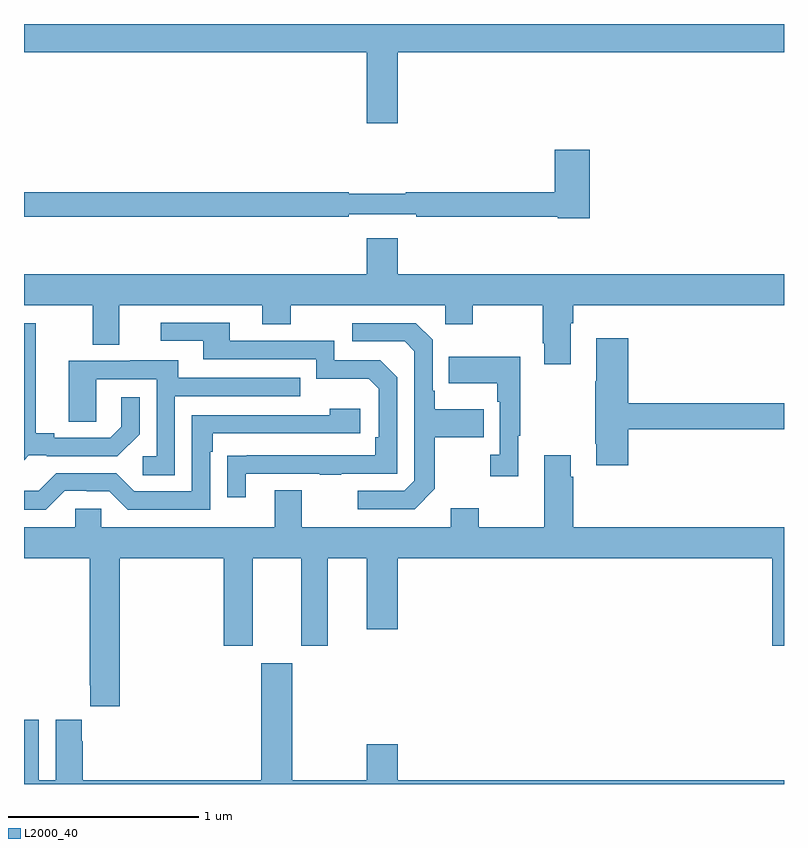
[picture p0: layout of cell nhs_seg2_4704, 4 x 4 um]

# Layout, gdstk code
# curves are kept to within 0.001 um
import gdstk
lib = gdstk.Library(unit=1e-6, precision=1e-09)
def P(c, l, *ps):  # polygons
    for p in ps: c.add(gdstk.Polygon(p, *l))
L2000_40 = (2000, 40)

nhs_seg2_4704 = lib.new_cell('nhs_seg2_4704')
P(nhs_seg2_4704, L2000_40, [(368.968,631.652),(371,631.652),(371,631.8),(367,631.8),(367,631.652),(368.804,631.652),(368.804,631.278),(368.968,631.278)],
  [(369.977,631.138),(369.794,631.138),(369.794,630.914),(369.01,630.914),(369.01,630.907),(368.71,630.907),(368.71,630.914),(367,630.914),(367,630.786),(368.708,630.786),(368.708,630.798),(369.064,630.798),(369.064,630.786),(369.81,630.786),(369.81,630.778),(369.977,630.778)],
  [(368.968,630.673),(368.804,630.673),(368.804,630.484),(367,630.484),(367,630.32),(367.361,630.32),(367.361,630.112),(367.501,630.112),(367.501,630.32),(368.255,630.32),(368.255,630.221),(368.403,630.221),(368.403,630.32),(369.216,630.32),(369.216,630.221),(369.363,630.221),(369.363,630.32),(369.73,630.32),(369.73,630.121),(369.737,630.121),(369.737,630.009),(369.877,630.009),(369.877,630.224),(369.89,630.224),(369.89,630.32),(371,630.32),(371,630.484),(368.968,630.484)],
  [(368.167,629.433),(368.557,629.433),(368.557,629.428),(368.669,629.428),(368.669,629.433),(368.964,629.433),(368.964,629.94),(368.874,630.03),(368.634,630.03),(368.634,630.132),(368.083,630.132),(368.083,630.228),(367.719,630.228),(367.719,630.132),(367.943,630.132),(367.943,630.036),(368.538,630.036),(368.538,629.933),(368.815,629.933),(368.868,629.88),(368.868,629.626),(368.848,629.626),(368.848,629.529),(368.071,629.528),(368.071,629.31),(368.167,629.31)],
  [(369.163,629.353),(369.163,629.626),(369.419,629.626),(369.419,629.773),(369.163,629.773),(369.163,629.869),(369.15,629.869),(369.15,630.138),(369.063,630.225),(368.727,630.225),(368.727,630.129),(369.003,630.129),(369.054,630.078),(369.054,629.397),(369,629.343),(368.757,629.343),(368.757,629.247),(369.057,629.247)],
  [(367.026,629.529),(367.12,629.529),(367.12,629.526),(367.492,629.526),(367.608,629.642),(367.608,629.836),(367.511,629.836),(367.511,629.679),(367.454,629.622),(367.159,629.622),(367.159,629.645),(367.063,629.645),(367.063,630.225),(367,630.225),(367,629.503)],
  [(370.181,629.668),(371,629.668),(371,629.804),(370.181,629.804),(370.181,630.145),(370.013,630.145),(370.013,629.921),(370.006,629.921),(370.006,629.59),(370.013,629.59),(370.013,629.478),(370.181,629.478)],
  [(369.601,629.633),(369.613,629.633),(369.613,630.049),(369.235,630.049),(369.235,629.909),(369.492,629.909),(369.492,629.813),(369.504,629.813),(369.504,629.534),(369.453,629.534),(369.453,629.421),(369.601,629.421)],
  [(367.794,629.841),(368.453,629.841),(368.453,629.937),(367.813,629.937),(367.813,630.031),(367.559,630.031),(367.559,630.027),(367.235,630.027),(367.235,629.707),(367.38,629.707),(367.38,629.931),(367.698,629.931),(367.698,629.526),(367.626,629.526),(367.626,629.425),(367.794,629.425)],
  [(367.215,629.343),(367.331,629.343),(367.331,629.34),(367.449,629.34),(367.545,629.244),(367.98,629.244),(367.98,629.549),(367.993,629.549),(367.993,629.646),(368.77,629.646),(368.77,629.776),(368.609,629.776),(368.609,629.742),(367.884,629.742),(367.884,629.34),(367.581,629.34),(367.485,629.436),(367.17,629.436),(367.077,629.343),(367,629.343),(367,629.243),(367.115,629.243)],
  [(367.505,628.988),(368.051,628.988),(368.051,628.527),(368.203,628.527),(368.203,628.988),(368.459,628.988),(368.459,628.527),(368.599,628.527),(368.599,628.988),(368.804,628.988),(368.804,628.614),(368.968,628.614),(368.968,628.988),(370.937,628.988),(370.937,628.527),(371,628.527),(371,629.152),(369.89,629.152),(369.89,629.417),(369.877,629.417),(369.877,629.53),(369.737,629.53),(369.737,629.152),(369.393,629.152),(369.393,629.251),(369.245,629.251),(369.245,629.152),(368.461,629.152),(368.461,629.347),(368.321,629.347),(368.321,629.152),(367.407,629.152),(367.407,629.25),(367.269,629.25),(367.269,629.152),(367,629.152),(367,628.988),(367.345,628.988),(367.345,628.321),(367.349,628.321),(367.349,628.209),(367.505,628.209)],
  [(371,627.82),(368.968,627.82),(368.968,628.009),(368.804,628.009),(368.804,627.82),(368.413,627.82),(368.413,628.435),(368.249,628.435),(368.249,627.82),(367.31,627.82),(367.31,628.025),(367.303,628.025),(367.303,628.138),(367.166,628.138),(367.166,627.82),(367.078,627.82),(367.078,628.138),(367,628.138),(367,627.8),(371,627.8)])

lib.write_gds('nhs_seg2_4704.gds')
